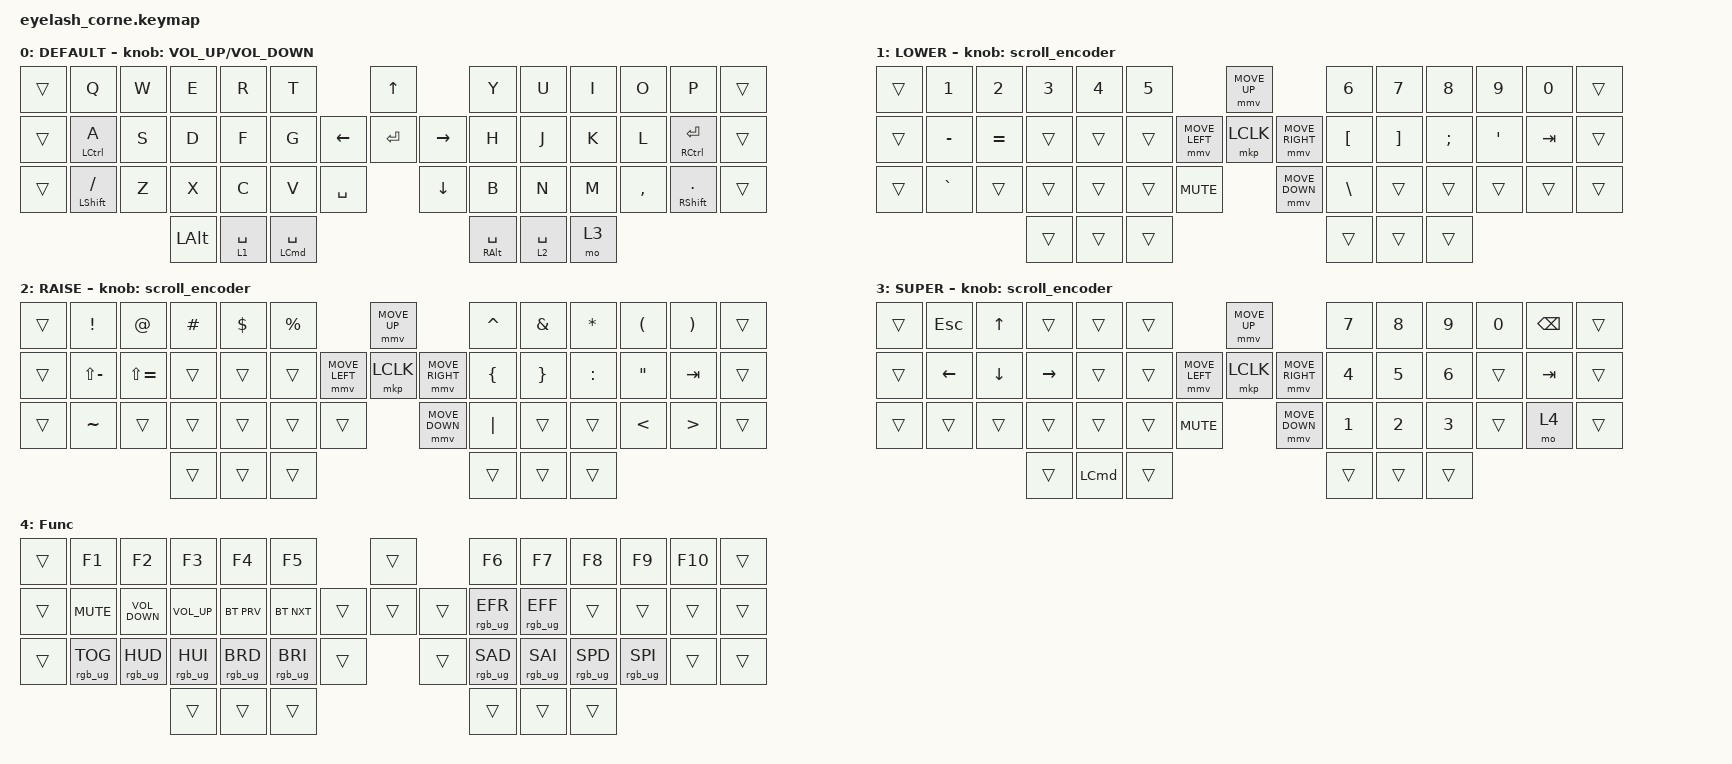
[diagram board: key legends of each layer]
#define ZMK_POINTING_DEFAULT_MOVE_VAL 1200  // 600
#define ZMK_POINTING_DEFAULT_SCRL_VAL 25   // 10

#include <input/processors.dtsi>
#include <zephyr/dt-bindings/input/input-event-codes.h>
#include <behaviors.dtsi>
#include <dt-bindings/zmk/bt.h>
#include <dt-bindings/zmk/keys.h>
#include <dt-bindings/zmk/pointing.h>
#include <dt-bindings/zmk/rgb.h>

&mmv_input_listener { input-processors = <&zip_xy_scaler 2 1>; };

&msc_input_listener { input-processors = <&zip_scroll_scaler 2 1>; };

&msc {
    acceleration-exponent = <1>;      // 0
    time-to-max-speed-ms = <100>;       // 300
    delay-ms = <0>;                   // 0
};

&mmv {
    time-to-max-speed-ms = <500>;
    acceleration-exponent = <1>;
    trigger-period-ms = <16>;
};

&soft_off { hold-time-ms = <2000>; };

/ {
    behaviors {
        td0: td0 {
            compatible = "zmk,behavior-tap-dance";
            display-name = "Shift/Caps Lock Tap Dance";
            #binding-cells = <0>;
            bindings = <&kp LEFT_SHIFT>, <&kp CAPS>;
        };
    };

    rgb_encoder: rgb_encoder {
        compatible = "zmk,behavior-sensor-rotate";
        #sensor-binding-cells = <0>;
        bindings = <&rgb_ug RGB_BRI>, <&rgb_ug RGB_BRD>;
    };

    scroll_encoder: scroll_encoder {
        compatible = "zmk,behavior-sensor-rotate";
        #sensor-binding-cells = <0>;
        bindings = <&msc SCRL_DOWN>, <&msc SCRL_UP>;

        tap-ms = <100>;
    };

    combos {
        compatible = "zmk,combos";

        softoff {
            bindings = <&soft_off>;
            key-positions = <1 15 29>;
            layers = <3>;
        };
    };

    keymap {
        compatible = "zmk,keymap";

        QWERT {
            display-name = "DEFAULT";
            bindings = <
&trans  &kp Q                 &kp W  &kp E         &kp R        &kp T                                          &kp UP                &kp Y                &kp U        &kp I  &kp O      &kp P                    &trans
&trans  &mt LCTRL A           &kp S  &kp D         &kp F        &kp G                                &kp LEFT  &kp ENTER  &kp RIGHT  &kp H                &kp J        &kp K  &kp L      &mt RIGHT_CONTROL ENTER  &trans
&trans  &mt LEFT_SHIFT SLASH  &kp Z  &kp X         &kp C        &kp V                   &kp SPACE              &kp DOWN              &kp B                &kp N        &kp M  &kp COMMA  &mt RIGHT_SHIFT PERIOD   &trans
                                     &kp LEFT_ALT  &lt 1 SPACE  &mt LEFT_COMMAND SPACE                                               &mt RIGHT_ALT SPACE  &lt 2 SPACE  &mo 3
            >;

            sensor-bindings = <&inc_dec_kp C_VOLUME_UP C_VOLUME_DOWN>;
        };

        Lower {
            display-name = "LOWER";
            bindings = <
&trans  &kp N1     &kp N2     &kp N3  &kp N4  &kp N5                                &mmv MOVE_UP                     &kp N6            &kp N7             &kp N8         &kp N9   &kp N0   &trans
&trans  &kp MINUS  &kp EQUAL  &trans  &trans  &trans                &mmv MOVE_LEFT  &mkp LCLK       &mmv MOVE_RIGHT  &kp LEFT_BRACKET  &kp RIGHT_BRACKET  &kp SEMICOLON  &kp SQT  &kp TAB  &trans
&trans  &kp GRAVE  &trans     &trans  &trans  &trans  &kp C_MUTE                    &mmv MOVE_DOWN                   &kp BACKSLASH     &trans             &trans         &trans   &trans   &trans
                              &trans  &trans  &trans                                                                 &trans            &trans             &trans
            >;

            sensor-bindings = <&scroll_encoder>;
        };

        Raise {
            display-name = "RAISE";
            bindings = <
&trans  &kp EXCL       &kp AT         &kp HASH  &kp DLLR  &kp PRCNT                            &mmv MOVE_UP                     &kp CARET       &kp AMPS         &kp ASTRK  &kp LPAR           &kp RPAR          &trans
&trans  &kp LS(MINUS)  &kp LS(EQUAL)  &trans    &trans    &trans               &mmv MOVE_LEFT  &mkp LCLK       &mmv MOVE_RIGHT  &kp LEFT_BRACE  &kp RIGHT_BRACE  &kp COLON  &kp DOUBLE_QUOTES  &kp TAB           &trans
&trans  &kp TILDE      &trans         &trans    &trans    &trans     &trans                    &mmv MOVE_DOWN                   &kp PIPE        &trans           &trans     &kp LESS_THAN      &kp GREATER_THAN  &trans
                                      &trans    &trans    &trans                                                                &trans          &trans           &trans
            >;

            sensor-bindings = <&scroll_encoder>;
        };

        Super {
            display-name = "SUPER";
            bindings = <
&trans  &kp ESCAPE      &kp UP_ARROW    &trans           &trans            &trans                                &mmv MOVE_UP                     &kp NUMBER_7  &kp NUMBER_8  &kp NUMBER_9  &kp NUMBER_0  &kp BACKSPACE  &trans
&trans  &kp LEFT_ARROW  &kp DOWN_ARROW  &kp RIGHT_ARROW  &trans            &trans                &mmv MOVE_LEFT  &mkp LCLK       &mmv MOVE_RIGHT  &kp NUMBER_4  &kp NUMBER_5  &kp NUMBER_6  &trans        &kp TAB        &trans
&trans  &trans          &trans          &trans           &trans            &trans  &kp C_MUTE                    &mmv MOVE_DOWN                   &kp NUMBER_1  &kp NUMBER_2  &kp NUMBER_3  &trans        &mo 4          &trans
                                        &trans           &kp LEFT_COMMAND  &trans                                                                 &trans        &trans        &trans
            >;

            sensor-bindings = <&scroll_encoder>;
        };

        Fn {
            bindings = <
&trans  &kp F1           &kp F2             &kp F3           &kp F4           &kp F5                             &trans          &kp F6           &kp F7           &kp F8           &kp F9           &kp F10  &trans
&trans  &kp K_MUTE       &kp C_VOLUME_DOWN  &kp C_VOLUME_UP  &bt BT_PRV       &bt BT_NXT                 &trans  &trans  &trans  &rgb_ug RGB_EFR  &rgb_ug RGB_EFF  &trans           &trans           &trans   &trans
&trans  &rgb_ug RGB_TOG  &rgb_ug RGB_HUD    &rgb_ug RGB_HUI  &rgb_ug RGB_BRD  &rgb_ug RGB_BRI  &trans            &trans          &rgb_ug RGB_SAD  &rgb_ug RGB_SAI  &rgb_ug RGB_SPD  &rgb_ug RGB_SPI  &trans   &trans
                                            &trans           &trans           &trans                                             &trans           &trans           &trans
            >;

            label = "Func";
        };
    };
};
